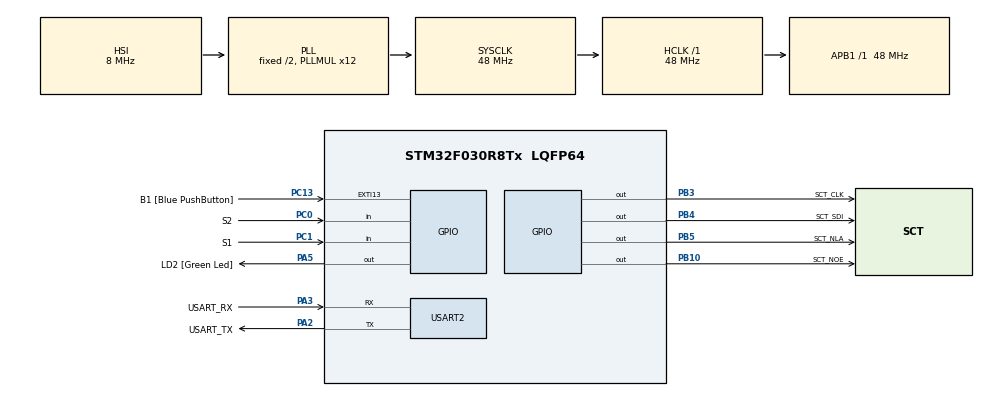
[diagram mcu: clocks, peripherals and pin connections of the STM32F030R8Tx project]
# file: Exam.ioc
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Mcu.Family=STM32F0
Mcu.Name=STM32F030R8Tx
Mcu.Package=LQFP64
PA13.GPIO_Label=TMS
PA13.Mode=Serial_Wire
PA13.Signal=SYS_SWDIO
PA14.GPIO_Label=TCK
PA14.Mode=Serial_Wire
PA14.Signal=SYS_SWCLK
PA2.GPIO_Label=USART_TX
PA2.GPIO_Mode=GPIO_MODE_AF_PP
PA2.GPIO_PuPd=GPIO_NOPULL
PA2.GPIO_Speed=GPIO_SPEED_FREQ_LOW
PA2.Mode=Asynchronous
PA2.Signal=USART2_TX
PA3.GPIO_Label=USART_RX
PA3.GPIO_Mode=GPIO_MODE_AF_PP
PA3.GPIO_PuPd=GPIO_NOPULL
PA3.GPIO_Speed=GPIO_SPEED_FREQ_LOW
PA3.Mode=Asynchronous
PA3.Signal=USART2_RX
PA5.GPIO_Label=LD2 [Green Led]
PA5.GPIO_Mode=GPIO_MODE_OUTPUT_PP
PA5.GPIO_PuPd=GPIO_NOPULL
PA5.GPIO_Speed=GPIO_SPEED_FREQ_LOW
PA5.Signal=GPIO_Output
PB10.GPIO_Label=SCT_NOE
PB10.Signal=GPIO_Output
PB3.GPIO_Label=SCT_CLK
PB3.Signal=GPIO_Output
PB4.GPIO_Label=SCT_SDI
PB4.Signal=GPIO_Output
PB5.GPIO_Label=SCT_NLA
PB5.Signal=GPIO_Output
PC0.GPIO_Label=S2
PC0.GPIO_PuPd=GPIO_PULLUP
PC0.Signal=GPIO_Input
PC1.GPIO_Label=S1
PC1.GPIO_PuPd=GPIO_PULLUP
PC1.Signal=GPIO_Input
PC13.GPIO_Label=B1 [Blue PushButton]
PC13.GPIO_ModeDefaultEXTI=GPIO_MODE_IT_FALLING
PC13.Signal=GPXTI13
PC14-OSC32_IN.Mode=LSE-External-Oscillator
PC14-OSC32_IN.Signal=RCC_OSC32_IN
PC15-OSC32_OUT.Mode=LSE-External-Oscillator
PC15-OSC32_OUT.Signal=RCC_OSC32_OUT
PF0-OSC_IN.Mode=HSE-External-Clock-Source
PF0-OSC_IN.Signal=RCC_OSC_IN
PF1-OSC_OUT.Signal=RCC_OSC_OUT
ProjectManager.HeapSize=0x200
ProjectManager.StackSize=0x400
ProjectManager.TargetToolchain=STM32CubeIDE
RCC.AHBFreq_Value=48000000
RCC.APB1Freq_Value=48000000
RCC.APB1TimFreq_Value=48000000
RCC.HCLKFreq_Value=48000000
RCC.PLLMUL=RCC_PLL_MUL12
RCC.SYSCLKFreq_VALUE=48000000
RCC.SYSCLKSource=RCC_SYSCLKSOURCE_PLLCLK
USART2.VirtualMode-Asynchronous=VM_ASYNC
VP_TIM1_VS_ClockSourceINT.Mode=Internal
board=NUCLEO-F030R8

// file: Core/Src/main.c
/* USER CODE BEGIN Header */
/**
  ******************************************************************************
  * @file           : main.c
  * @brief          : Main program body
  ******************************************************************************
  * @attention
  *
  * Copyright (c) 2025 STMicroelectronics.
  * All rights reserved.
  *
  * This software is licensed under terms that can be found in the LICENSE file
  * in the root directory of this software component.
  * If no LICENSE file comes with this software, it is provided AS-IS.
  *
  ******************************************************************************
  */
/* USER CODE END Header */
#include "main.h"

/* USER CODE BEGIN Includes */
#include "sct.h"
/* USER CODE END Includes */

/* USER CODE BEGIN PD */
#define DELAY 1000
/* USER CODE END PD */

TIM_HandleTypeDef htim1;
UART_HandleTypeDef huart2;

/* USER CODE BEGIN PV */
uint32_t time = 0;
uint8_t value;
uint32_t seed = 123456; // Initial seed value
/* USER CODE END PV */

void SystemClock_Config(void);
static void MX_GPIO_Init(void);
static void MX_USART2_UART_Init(void);
static void MX_TIM1_Init(void);
uint32_t lcg_random(void); // PRNG function prototype

int main(void)
{
  /* MCU Configuration--------------------------------------------------------*/
  HAL_Init();
  SystemClock_Config();
  MX_GPIO_Init();
  MX_USART2_UART_Init();
  MX_TIM1_Init();

  /* Infinite loop */
  /* USER CODE BEGIN WHILE */
  while (1)
  {
      static enum { SHOW_ROLLING, SHOW_NO_ROLLING, IDLE } state = IDLE;
      static uint8_t numberDisplayed = 0; // Flag to indicate if the number has been displayed

      // Check button states to change the state
      if (HAL_GPIO_ReadPin(S1_GPIO_Port, S1_Pin) != 1) {
          state = SHOW_ROLLING;
          time = HAL_GetTick();
          numberDisplayed = 0; // Reset the display flag
      } else if (HAL_GPIO_ReadPin(S2_GPIO_Port, S2_Pin) != 1) {
          state = SHOW_NO_ROLLING;
          time = HAL_GetTick();
          numberDisplayed = 0; // Reset the display flag
      }

      // Handle the SHOW_NO_ROLLING state
      if (state == SHOW_NO_ROLLING) {
          if (numberDisplayed == 0) { // Check if the number has not been displayed yet
              // Generate a random number using LCG
              value = (lcg_random() % 6) + 1; // This will give you a number between 1 and 6
              sct_value(value); // Display the value
              numberDisplayed = 1; // Set the flag to indicate the number has been displayed
          }
      }

      // Handle the SHOW_ROLLING state
      if (state == SHOW_ROLLING) {
          // Optionally, you can generate a new random number at intervals
          value = (lcg_random() % 6) + 1; // Generate a new random number
          sct_value(value); // Display the new value
      }

      // Handle the IDLE state
      if (state == IDLE) {
          if (HAL_GetTick() >= time + 10);
      }

      // Reset state to IDLE after 1 second
      if (HAL_GetTick() >= time + 1000) {
          state = IDLE;
          numberDisplayed = 0; // Reset the display flag when going to IDLE
      }
  }

  HAL_Delay(50); // Small delay to prevent busy-waiting
}

  /* USER CODE END WHILE */

/**
  * @brief Simple Linear Congruential Generator (LCG) for pseudo-random number generation
  * @retval uint32_t Random number
  */
uint32_t lcg_random(void) {
    const uint32_t a = 1664525; // Multiplier
    const uint32_t c = 1013904223; // Increment
    seed = (a * seed + c); // Update the seed
    return seed; // Return the new random number
}

void SystemClock_Config(void)
{
  RCC_OscInitTypeDef RCC_OscInitStruct = {0};
  RCC_ClkInitTypeDef RCC_ClkInitStruct = {0};

  RCC_OscInitStruct.OscillatorType = RCC_OSCILLATORTYPE_HSI;
  RCC_OscInitStruct.HSIState = RCC_HSI_ON;
  RCC_OscInitStruct.HSICalibrationValue = RCC_HSICALIBRATION_DEFAULT;
  RCC_OscInitStruct.PLL.PLLState = RCC_PLL_ON;
  RCC_OscInitStruct.PLL.PLLSource = RCC_PLLSOURCE_HSI;
  RCC_OscInitStruct.PLL.PLLMUL = RCC_PLL_MUL12;
  RCC_OscInitStruct.PLL.PREDIV = RCC_PREDIV_DIV1;
  if (HAL_RCC_OscConfig(&RCC_OscInitStruct) != HAL_OK)
  {
    Error_Handler();
  }

  RCC_ClkInitStruct.ClockType = RCC_CLOCKTYPE_HCLK | RCC_CLOCKTYPE_SYSCLK | RCC_CLOCKTYPE_PCLK1;
  RCC_ClkInitStruct.SYSCLKSource = RCC_SYSCLKSOURCE_PLLCLK;
  RCC_ClkInitStruct.AHBCLKDivider = RCC_SYSCLK_DIV1;
  RCC_ClkInitStruct.APB1CLKDivider = RCC_HCLK_DIV1;

  if (HAL_RCC_ClockConfig(&RCC_ClkInitStruct, FLASH_LATENCY_1) != HAL_OK)
  {
    Error_Handler();
  }
}

static void MX_TIM1_Init(void)
{
  TIM_ClockConfigTypeDef sClockSourceConfig = {0};
  TIM_MasterConfigTypeDef sMasterConfig = {0};

  htim1.Instance = TIM1;
  htim1.Init.Prescaler = 0;
  htim1.Init.CounterMode = TIM_COUNTERMODE_UP;
  htim1.Init.Period = 65535;
  htim1.Init.ClockDivision = TIM_CLOCKDIVISION_DIV1;
  htim1.Init.RepetitionCounter = 0;
  htim1.Init.AutoReloadPreload = TIM_AUTORELOAD_PRELOAD_DISABLE;
  if (HAL_TIM_Base_Init(&htim1) != HAL_OK)
  {
    Error_Handler();
  }
  sClockSourceConfig.ClockSource = TIM_CLOCKSOURCE_INTERNAL;
  if (HAL_TIM_ConfigClockSource(&htim1, &sClockSourceConfig) != HAL_OK)
  {
    Error_Handler();
  }
  sMasterConfig.MasterOutputTrigger = TIM_TRGO_RESET;
  sMasterConfig.MasterSlaveMode = TIM_MASTERSLAVEMODE_DISABLE;
  if (HAL_TIMEx_MasterConfigSynchronization(&htim1, &sMasterConfig) != HAL_OK)
  {
    Error_Handler();
  }
}

static void MX_USART2_UART_Init(void)
{
  huart2.Instance = USART2;
  huart2.Init.BaudRate = 38400;
  huart2.Init.WordLength = UART_WORDLENGTH_8B;
  huart2.Init.StopBits = UART_STOPBITS_1;
  huart2.Init.Parity = UART_PARITY_NONE;
  huart2.Init.Mode = UART_MODE_TX_RX;
  huart2.Init.HwFlowCtl = UART_HWCONTROL_NONE;
  huart2.Init.OverSampling = UART_OVERSAMPLING_16;
  huart2.Init.OneBitSampling = UART_ONE_BIT_SAMPLE_DISABLE;
  huart2.AdvancedInit.AdvFeatureInit = UART_ADVFEATURE_NO_INIT;
  if (HAL_UART_Init(&huart2) != HAL_OK)
  {
    Error_Handler();
  }
}

static void MX_GPIO_Init(void)
{
  GPIO_InitTypeDef GPIO_InitStruct = {0};

  __HAL_RCC_GPIOC_CLK_ENABLE();
  __HAL_RCC_GPIOF_CLK_ENABLE();
  __HAL_RCC_GPIOA_CLK_ENABLE();
  __HAL_RCC_GPIOB_CLK_ENABLE();

  HAL_GPIO_WritePin(LD2_GPIO_Port, LD2_Pin, GPIO_PIN_RESET);
  HAL_GPIO_WritePin(GPIOB, SCT_NOE_Pin | SCT_CLK_Pin | SCT_SDI_Pin | SCT_NLA_Pin, GPIO_PIN_RESET);

  GPIO_InitStruct.Pin = B1_Pin;
  GPIO_InitStruct.Mode = GPIO_MODE_IT_FALLING;
  GPIO_InitStruct.Pull = GPIO_NOPULL;
  HAL_GPIO_Init(B1_GPIO_Port, &GPIO_InitStruct);

  GPIO_InitStruct.Pin = S2_Pin | S1_Pin;
  GPIO_InitStruct.Mode = GPIO_MODE_INPUT;
  GPIO_InitStruct.Pull = GPIO_PULLUP;
  HAL_GPIO_Init(GPIOC, &GPIO_InitStruct);

  GPIO_InitStruct.Pin = LD2_Pin;
  GPIO_InitStruct.Mode = GPIO_MODE_OUTPUT_PP;
  GPIO_InitStruct.Pull = GPIO_NOPULL;
  GPIO_InitStruct.Speed = GPIO_SPEED_FREQ_LOW;
  HAL_GPIO_Init(LD2_GPIO_Port, &GPIO_InitStruct);

  GPIO_InitStruct.Pin = SCT_NOE_Pin | SCT_CLK_Pin | SCT_SDI_Pin | SCT_NLA_Pin;
  GPIO_InitStruct.Mode = GPIO_MODE_OUTPUT_PP;
  GPIO_InitStruct.Pull = GPIO_NOPULL;
  GPIO_InitStruct.Speed = GPIO_SPEED_FREQ_LOW;
  HAL_GPIO_Init(GPIOB, &GPIO_InitStruct);
}

void Error_Handler(void)
{
  __disable_irq();
  while (1)
  {
  }
}
